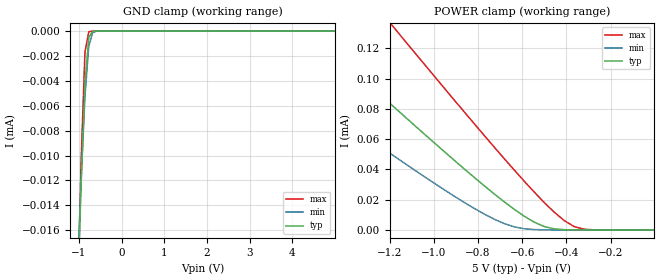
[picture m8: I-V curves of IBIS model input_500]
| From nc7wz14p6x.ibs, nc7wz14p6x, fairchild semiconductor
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[Model] input_500
Model_type Input
Vinh = 3.0V
Vinl = 1.6V
C_comp   0.25pF   0.23pF   0.32pF
[Voltage Range]   5.0V   4.5V   5.5V
[Temperature Range]   25.0   85.0   -40.0
[GND Clamp]
-5V       -553.9uA   -436.9uA   -730.9uA
-1.04V    -22.26uA   -19.72uA   -23.42uA
-950mV    -12.29uA   -11.91uA   -10.43uA
-860mV    -4.241uA   -5.28uA    -1.688uA
-770mV    -505.4nA   -1.206uA   -50.63nA
-680mV    -27.03nA   -126.5nA   -1.042nA
-590mV    -1.294nA   -10.33nA   -21.78pA
4.99V     5.114pA    0A         4.99pA
[POWER Clamp]
-5V       598.5uA    454.2uA    822.4uA
-1.985V   188.5uA    132.2uA    277.3uA
-1.58V    134.2uA    89.82uA    204.7uA
-1.535V   128.2uA    85.15uA    196.7uA
-1.175V   80.54uA    48.32uA    132.7uA
-860mV    40.05uA    17.99uA    77.57uA
-680mV    18.44uA    4.139uA    46.87uA
-545mV    5.096uA    253.4nA    24.92uA
-500mV    2.242uA    74.69nA    18.07uA
-410mV    177.2nA    6.027nA    6.182uA
-320mV    8.785nA    482.4pA    486.1nA
-5mV      5.211pA    4.572pA    6.159pA
